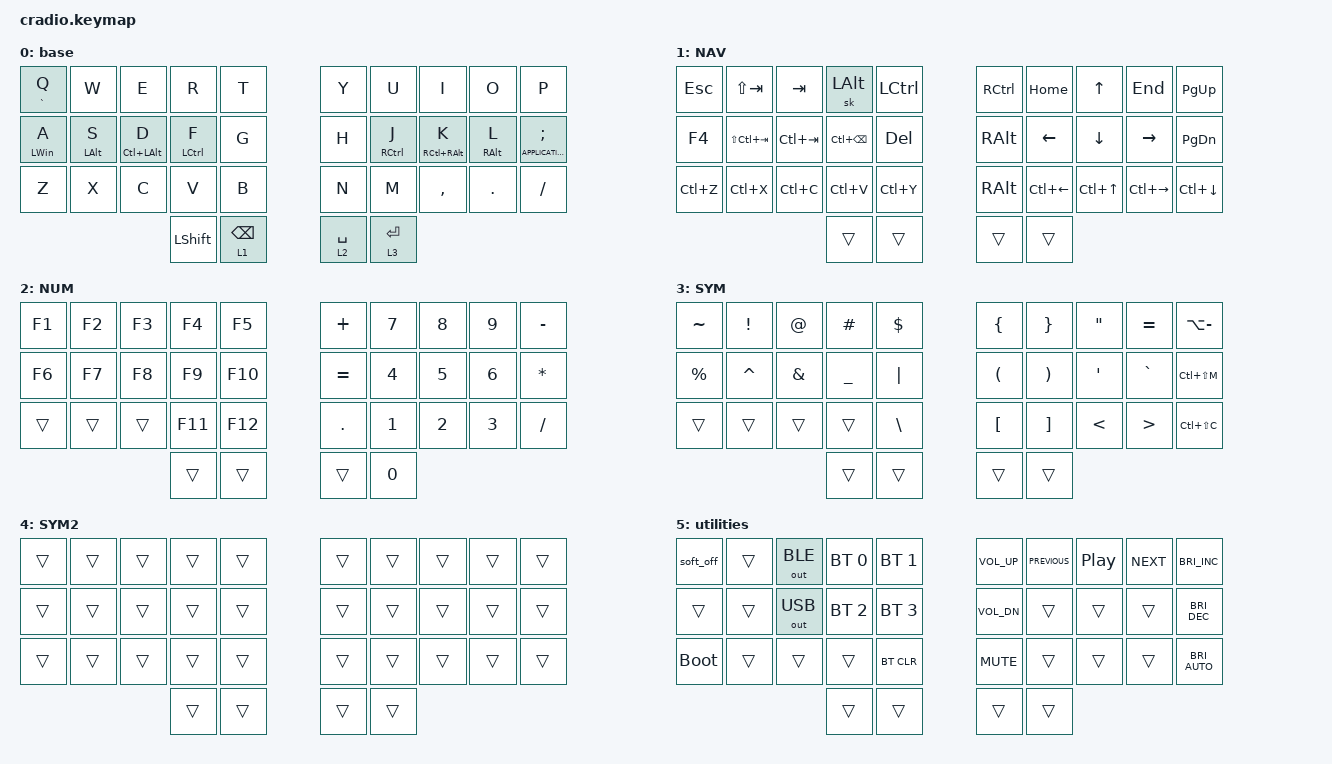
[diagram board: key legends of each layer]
// Copyright (c) 2022 The ZMK Contributors
// SPDX-License-Identifier: MIT

#include <behaviors.dtsi>
#include <dt-bindings/zmk/bt.h>
#include <dt-bindings/zmk/keys.h>
#include <dt-bindings/zmk/outputs.h>

// Home row mods macro
// #define HRML(k1,k2,k3,k4) &ht LSHFT k1  &ht LALT k2  &ht LCTRL k3  &ht LGUI k4
// #define HRMR(k1,k2,k3,k4) &ht RGUI k1  &ht RCTRL k2  &ht RALT k3  &ht RSHFT k4

/ {
    behaviors {
        ht: hold_tap {
            compatible = "zmk,behavior-hold-tap";
            #binding-cells = <2>;
            flavor = "tap-preferred";
            tapping-term-ms = <270>;
            quick-tap-ms = <150>;
            require-prior-idle-ms = <100>;
            bindings = <&kp>, <&kp>;
        };
    };

    conditional_layers {
        compatible = "zmk,conditional-layers";

        utilities {
            if-layers = <2 1>;
            then-layer = <5>;
        };
    };

    keymap {
        compatible = "zmk,keymap";

        base {
            bindings = <
&ht GRAVE Q  &kp W       &kp E               &kp R        &kp T              &kp Y        &kp U        &kp I                &kp O       &kp P
&ht LWIN A   &ht LALT S  &ht LC(LEFT_ALT) D  &ht LCTRL F  &kp G              &kp H        &ht RCTRL J  &ht RC(RIGHT_ALT) K  &ht RALT L  &ht K_APPLICATION SEMICOLON
&kp Z        &kp X       &kp C               &kp V        &kp B              &kp N        &kp M        &kp COMMA            &kp DOT     &kp FSLH
                                             &kp LSHIFT   &lt 1 BACKSPACE    &lt 2 SPACE  &lt 3 ENTER
            >;
        };

        NAV {
            bindings = <
&kp ESCAPE  &kp LS(TAB)      &kp TAB      &sk LEFT_ALT       &kp LEFT_CONTROL    &kp RIGHT_CONTROL  &kp HOME            &kp UP            &kp END              &kp PG_UP
&kp F4      &kp LS(LC(TAB))  &kp LC(TAB)  &kp LC(BACKSPACE)  &kp DELETE          &kp RIGHT_ALT      &kp LEFT            &kp DOWN          &kp RIGHT            &kp PG_DN
&kp LC(Z)   &kp LC(X)        &kp LC(C)    &kp LC(V)          &kp LC(Y)           &kp RIGHT_ALT      &kp LC(LEFT_ARROW)  &kp LC(UP_ARROW)  &kp LC(RIGHT_ARROW)  &kp LC(DOWN_ARROW)
                                          &trans             &trans              &trans             &trans
            >;
        };

        NUM {
            bindings = <
&kp F1  &kp F2  &kp F3  &kp F4   &kp F5     &kp PLUS   &kp N7  &kp N8  &kp N9  &kp MINUS
&kp F6  &kp F7  &kp F8  &kp F9   &kp F10    &kp EQUAL  &kp N4  &kp N5  &kp N6  &kp ASTERISK
&trans  &trans  &trans  &kp F11  &kp F12    &kp DOT    &kp N1  &kp N2  &kp N3  &kp SLASH
                        &trans   &trans     &trans     &kp N0
            >;
        };

        SYM {
            bindings = <
&kp TILDE    &kp EXCLAMATION  &kp AT_SIGN    &kp HASH        &kp DOLLAR       &kp LEFT_BRACE        &kp RIGHT_BRACE        &kp DOUBLE_QUOTES  &kp EQUAL         &kp LA(MINUS)
&kp PERCENT  &kp CARET        &kp AMPERSAND  &kp UNDERSCORE  &kp PIPE         &kp LEFT_PARENTHESIS  &kp RIGHT_PARENTHESIS  &kp SINGLE_QUOTE   &kp GRAVE         &kp LC(LS(M))
&trans       &trans           &trans         &trans          &kp BACKSLASH    &kp LEFT_BRACKET      &kp RIGHT_BRACKET      &kp LESS_THAN      &kp GREATER_THAN  &kp LC(LS(C))
                                             &trans          &trans           &trans                &trans
            >;
        };

        SYM2 {
            bindings = <
&trans  &trans  &trans  &trans  &trans    &trans  &trans  &trans  &trans  &trans
&trans  &trans  &trans  &trans  &trans    &trans  &trans  &trans  &trans  &trans
&trans  &trans  &trans  &trans  &trans    &trans  &trans  &trans  &trans  &trans
                        &trans  &trans    &trans  &trans
            >;
        };

        utilities {
            bindings = <
&soft_off    &trans  &out OUT_BLE  &bt BT_SEL 0  &bt BT_SEL 1    &kp C_VOL_UP  &kp C_PREVIOUS  &kp C_PLAY_PAUSE  &kp C_NEXT  &kp C_BRIGHTNESS_INC
&trans       &trans  &out OUT_USB  &bt BT_SEL 2  &bt BT_SEL 3    &kp C_VOL_DN  &trans          &trans            &trans      &kp C_BRIGHTNESS_DEC
&bootloader  &trans  &trans        &trans        &bt BT_CLR      &kp C_MUTE    &trans          &trans            &trans      &kp C_BRIGHTNESS_AUTO
                                   &trans        &trans          &trans        &trans
            >;
        };
    };
};
